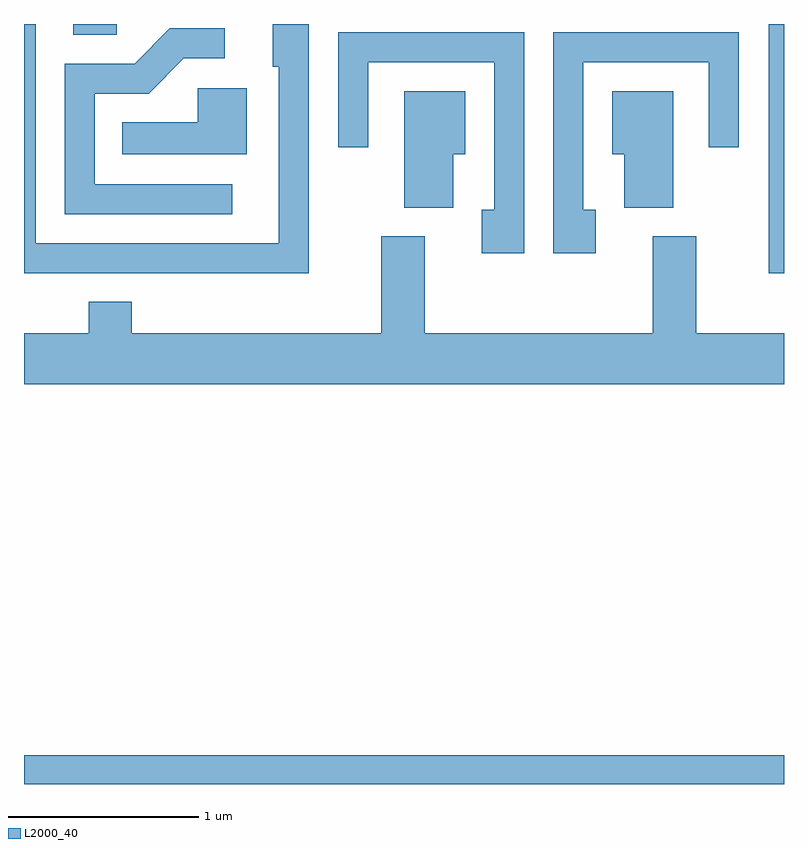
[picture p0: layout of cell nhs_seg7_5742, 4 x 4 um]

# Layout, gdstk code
import gdstk
lib = gdstk.Library(unit=1e-6, precision=1e-09)
def R(c, l, rs):  # rectangles x0, y0, x1, y1
    for r in rs: c.add(gdstk.rectangle(r[:2], r[2:], *l))
def P(c, l, *ps):  # polygons
    for p in ps: c.add(gdstk.Polygon(p, *l))
L2000_40 = (2000, 40)

nhs_seg7_5742 = lib.new_cell('nhs_seg7_5742')
R(nhs_seg7_5742, L2000_40, [(361.611,1672.252,365.611,1672.404), (365.531,1674.941,365.611,1676.252), (361.871,1676.196,362.099,1676.252)])
P(nhs_seg7_5742, L2000_40, [(363.109,1676.252),(362.921,1676.252),(362.921,1676.026),(362.951,1676.026),(362.951,1675.099),(361.674,1675.099),(361.674,1676.252),(361.611,1676.252),(361.611,1674.941),(363.109,1674.941)],
  [(362.708,1675.409),(361.984,1675.409),(361.984,1675.886),(362.267,1675.886),(362.452,1676.071),(362.668,1676.071),(362.668,1676.229),(362.379,1676.229),(362.194,1676.044),(361.826,1676.044),(361.826,1675.251),(362.708,1675.251)],
  [(364.619,1675.274),(364.554,1675.274),(364.554,1676.051),(365.216,1676.051),(365.216,1675.603),(365.374,1675.603),(365.374,1676.209),(364.396,1676.209),(364.396,1675.046),(364.619,1675.046)],
  [(364.244,1676.209),(363.266,1676.209),(363.266,1675.603),(363.424,1675.603),(363.424,1676.051),(364.086,1676.051),(364.086,1675.274),(364.021,1675.274),(364.021,1675.046),(364.244,1675.046)],
  [(362.784,1675.914),(362.526,1675.914),(362.526,1675.734),(362.128,1675.734),(362.128,1675.566),(362.784,1675.566)],
  [(363.869,1675.566),(363.934,1675.566),(363.934,1675.899),(363.611,1675.899),(363.611,1675.286),(363.869,1675.286)],
  [(365.029,1675.899),(364.706,1675.899),(364.706,1675.566),(364.771,1675.566),(364.771,1675.286),(365.029,1675.286)],
  [(365.611,1674.624),(365.149,1674.624),(365.149,1675.134),(364.921,1675.134),(364.921,1674.624),(363.719,1674.624),(363.719,1675.134),(363.491,1675.134),(363.491,1674.624),(362.179,1674.624),(362.179,1674.789),(361.951,1674.789),(361.951,1674.624),(361.611,1674.624),(361.611,1674.356),(365.611,1674.356)])

lib.write_gds('nhs_seg7_5742.gds')
